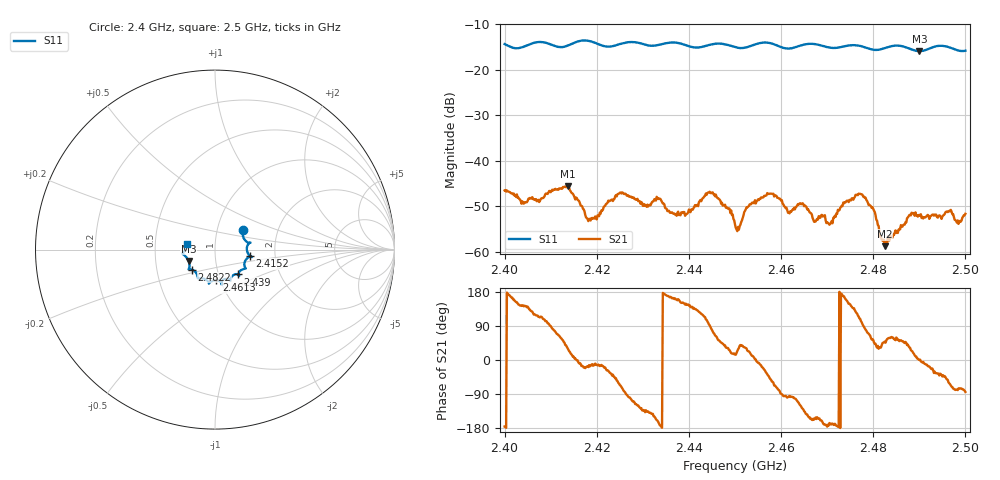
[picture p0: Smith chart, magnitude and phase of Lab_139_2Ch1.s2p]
# Hz S RI R 50
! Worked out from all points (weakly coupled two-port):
!   601 points, 2.4 GHz to 2.5 GHz, reference 50 ohm
!   highest |S21| = -45.53 dB at 2.4137 GHz (marker M1); lowest = -58.7 dB at 2.4825 GHz (marker M2)
!   lowest |S11| = -15.9 dB at 2.49 GHz (marker M3), VSWR 1.38, Z = 36.9 - j4.82 ohm
!   |S11| at or under -10 dB: start of sweep to end of sweep
!   S12 and S22 are empty: the file has one direction only
!   S11 on the Smith chart (normalised r, x): 2.4 GHz: 1.33, +0.31; 2.4152 GHz: 1.48, -0.11; 2.439 GHz: 1.24, -0.36; 2.4613 GHz: 0.96, -0.34; 2.4822 GHz: 0.76, -0.17; 2.5 GHz: 0.72, +0.05
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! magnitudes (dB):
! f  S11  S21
! 2.4 GHz  -14.4  -46.5
! 2.4042 GHz  -14.9  -49.4
! 2.4137 GHz  -14.7  -45.5
! 2.4152 GHz  -14.1  -48.0
! 2.4167 GHz  -13.6  -49.9
! 2.4185 GHz  -13.7  -52.8
! 2.425 GHz  -14.4  -47.0
! 2.4333 GHz  -14.6  -48.4
! 2.439 GHz  -14.5  -51.3
! 2.4447 GHz  -14.5  -47.0
! 2.45 GHz  -15.0  -54.0
! 2.4575 GHz  -14.1  -47.2
! 2.4613 GHz  -15.3  -50.9
! 2.4667 GHz  -14.3  -51.7
! 2.4707 GHz  -15.2  -53.8
! 2.4773 GHz  -14.8  -47.3
! 2.48 GHz  -15.6  -50.6
! 2.4822 GHz  -15.4  -57.6
! 2.4825 GHz  -15.3  -58.7
! 2.4833 GHz  -15.0  -57.0
! 2.49 GHz  -15.9  -52.1
! 2.5 GHz  -15.8  -51.6
